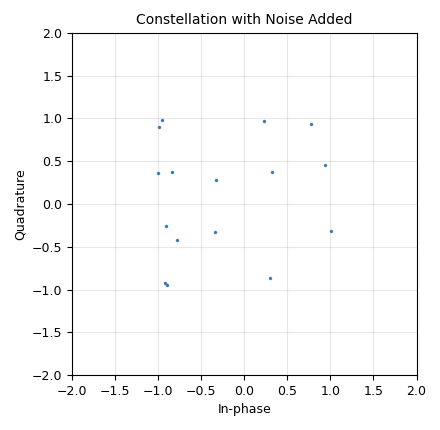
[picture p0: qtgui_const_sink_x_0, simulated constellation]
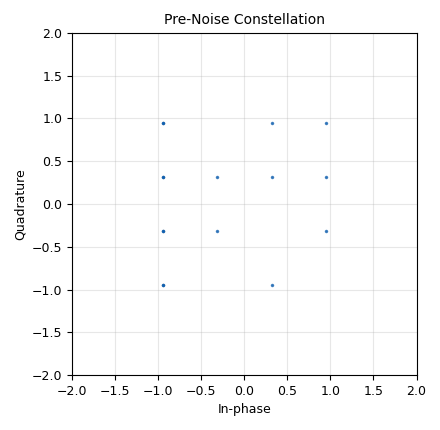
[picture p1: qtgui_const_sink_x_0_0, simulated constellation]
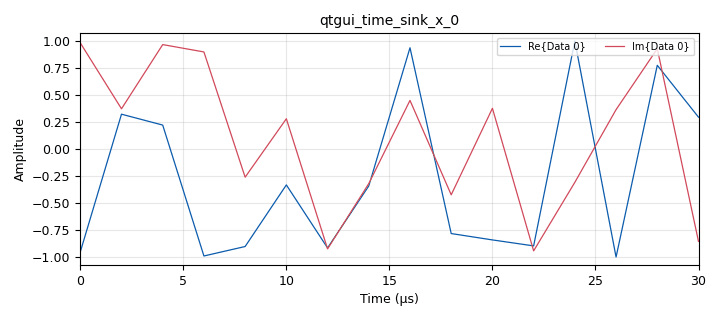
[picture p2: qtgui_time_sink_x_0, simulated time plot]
options:
  parameters:
    author: Tobias Heller
    generate_options: qt_gui
    id: TobiasQAM
    output_language: python
    title: QAM Noise Constellations
  states: {}

blocks:
- name: QAM
  id: variable_constellation
  parameters:
    normalization: digital.constellation.NO_NORMALIZATION
    precision: '8'
    type: 16qam
  states: {}
- name: bits_chunk
  id: variable
  parameters:
    value: '4'
  states: {}
- name: mod_points
  id: variable
  parameters:
    value: '16'
  states: {}
- name: noise_level
  id: variable
  parameters:
    value: '0.1'
  states: {}
- name: samp_rate
  id: variable
  parameters:
    value: '500000'
  states: {}
- name: analog_noise_source_x_0
  id: analog_noise_source_x
  parameters:
    amp: noise_level
    noise_type: analog.GR_GAUSSIAN
    seed: '0'
    type: complex
  states: {}
- name: analog_random_source_x_0
  id: analog_random_source_x
  parameters:
    max: '256'
    min: '0'
    num_samps: '10000'
    repeat: 'True'
    type: byte
  states: {}
- name: blocks_add_xx_0
  id: blocks_add_xx
  parameters:
    type: complex
  states: {}
- name: blocks_file_sink_0
  id: blocks_file_sink
  parameters:
    file: C:\Users\tobia\Documents\QAMoutput.txt
    type: byte
  states: {}
- name: blocks_file_sink_1
  id: blocks_file_sink
  parameters:
    file: C:\Users\tobia\Documents\QAMinput.txt
    type: byte
  states: {}
- name: blocks_packed_to_unpacked_xx_0
  id: blocks_packed_to_unpacked_xx
  parameters:
    bits_per_chunk: bits_chunk
    endianness: gr.GR_MSB_FIRST
    type: byte
  states: {}
- name: blocks_throttle2_0
  id: blocks_throttle2
  parameters:
    samples_per_second: samp_rate
    type: byte
  states: {}
- name: blocks_unpacked_to_packed_xx_0
  id: blocks_unpacked_to_packed_xx
  parameters:
    bits_per_chunk: bits_chunk
    endianness: gr.GR_MSB_FIRST
    type: byte
  states: {}
- name: digital_constellation_decoder_cb_0
  id: digital_constellation_decoder_cb
  parameters:
    constellation: QAM
  states: {}
- name: digital_constellation_encoder_bc_0
  id: digital_constellation_encoder_bc
  parameters:
    constellation: QAM
  states: {}
- name: qtgui_const_sink_x_0
  id: qtgui_const_sink_x
  parameters:
    name: Constellation with Noise Added
    size: mod_points
    type: complex
    update_time: '0.01'
  states: {}
- name: qtgui_const_sink_x_0_0
  id: qtgui_const_sink_x
  parameters:
    name: Pre-Noise Constellation
    size: mod_points
    type: complex
  states: {}
- name: qtgui_time_sink_x_0
  id: qtgui_time_sink_x
  parameters:
    size: mod_points
    srate: samp_rate
    type: complex
  states: {}

connections:
- [analog_noise_source_x_0, '0', blocks_add_xx_0, '1']
- [analog_random_source_x_0, '0', blocks_file_sink_1, '0']
- [analog_random_source_x_0, '0', blocks_packed_to_unpacked_xx_0, '0']
- [blocks_add_xx_0, '0', digital_constellation_decoder_cb_0, '0']
- [blocks_add_xx_0, '0', qtgui_const_sink_x_0, '0']
- [blocks_add_xx_0, '0', qtgui_time_sink_x_0, '0']
- [blocks_packed_to_unpacked_xx_0, '0', blocks_throttle2_0, '0']
- [blocks_throttle2_0, '0', digital_constellation_encoder_bc_0, '0']
- [blocks_unpacked_to_packed_xx_0, '0', blocks_file_sink_0, '0']
- [digital_constellation_decoder_cb_0, '0', blocks_unpacked_to_packed_xx_0, '0']
- [digital_constellation_encoder_bc_0, '0', blocks_add_xx_0, '0']
- [digital_constellation_encoder_bc_0, '0', qtgui_const_sink_x_0_0, '0']

metadata:
  file_format: 1
  grc_version: 3.10.12.0
